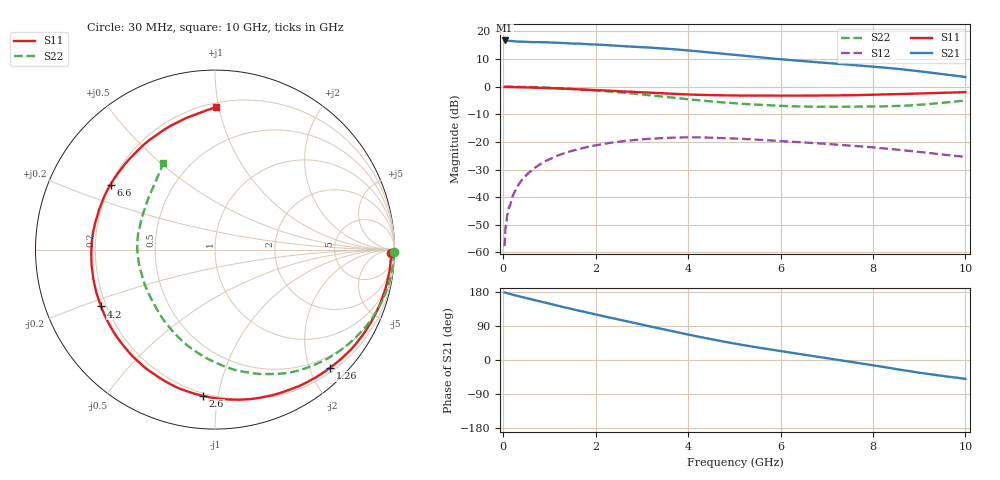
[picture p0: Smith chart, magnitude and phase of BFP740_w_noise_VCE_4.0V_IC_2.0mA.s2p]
! Infineon Technologies  Discrete & RF Semiconductors
! BFP740
! VCE =  4.0 V,  IC =  2.0 mA
! Common Emitter S-Parameters:  Jan 2016
# GHz  S  MA  R  50
!  f  S11  S21  S12  S22
! GHz  MAG  ANG  MAG  ANG  MAG  ANG  MAG  ANG
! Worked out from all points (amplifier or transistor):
!   229 points, 30 MHz to 10 GHz, reference 50 ohm
!   highest |S21| = 16.7 dB at 30 MHz (marker M1)
!   |S21| within 3 dB of that: start of sweep to 3.539 GHz
!   unconditionally stable (mu >= 1): 8.547 GHz to end of sweep
!   at 280 MHz: K = 0.06, MSG = 26.6 dB, |S12| = -37.0 dB
!   at 1.78 GHz: K = 0.17, MSG = 18.7 dB, |S12| = -22.0 dB
!   at 10 GHz: K = 1.31, MAG = 11.1 dB, |S12| = -25.4 dB
!   lowest NFmin = 0.46 dB at 450 MHz
!   S11 on the Smith chart (normalised r, x): 30 MHz: 47, -54; 1.26 GHz: 0.28, -2.33; 2.6 GHz: 0.18, -0.91; 4.2 GHz: 0.18, -0.23; 6.6 GHz: 0.20, +0.28; 10 GHz: 0.23, +0.98
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0.03  0.9819 -1.2  6.814 178.2  0.0013 85.8  0.9982 -0.8
0.04  0.9829 -1.5  6.596 177.8  0.002 81.8  0.9979 -1.0
0.05  0.9832 -1.8  6.716 177.8  0.0029 78.7  0.9964 -1.3
0.12  0.9801 -4.5  6.669 175.0  0.0064 83.3  0.9968 -3.0
0.32  0.9751 -11.7  6.498 168.7  0.0162 81.2  0.9911 -8.1
0.9  0.9462 -32.9  6.356 151.5  0.0444 66.3  0.9593 -22.4
1.26  0.9187 -45.9  6.146 140.8  0.0598 56.8  0.9272 -31.3
1.7  0.8841 -61.9  5.948 128.4  0.0765 46.4  0.8829 -41.6
2.1  0.8562 -76.7  5.722 117.4  0.0899 36.8  0.8382 -51.4
2.6  0.8183 -94.6  5.39 104.1  0.1029 25.6  0.7756 -63.1
3.1  0.7789 -113.2  5.108 90.6  0.1127 14.8  0.7084 -75.1
3.4  0.7566 -124.4  4.913 82.8  0.1171 8.3  0.668 -82.6
3.8  0.7307 -139.2  4.647 72.3  0.1202 -0.1  0.6151 -92.7
4.2  0.7097 -153.5  4.349 62.1  0.1204 -8.0  0.5673 -103.2
4.6  0.6974 -166.6  4.044 52.5  0.1184 -15.4  0.5291 -112.7
5.1  0.6883 178.8  3.683 41.3  0.1138 -23.5  0.4915 -123.9
5.8  0.6826 163.1  3.226 27.3  0.1059 -32.8  0.4559 -138.5
6.6  0.6856 148.1  2.844 12.3  0.0965 -41.3  0.4335 -157.1
6.8  0.6872 144.4  2.751 8.7  0.0942 -43.3  0.4312 -161.8
8.4  0.725 113.3  2.141 -21.9  0.0741 -56.4  0.4418 159.1
9  0.7502 102.5  1.898 -33.6  0.0658 -59.1  0.4685 142.5
10  0.7935 89.6  1.489 -49.7  0.0534 -57.9  0.5599 121.0
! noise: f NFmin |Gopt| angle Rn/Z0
0.45  0.46  0.57  13  0.36
0.9  0.48  0.58  20  0.35
1.5  0.55  0.56  30  0.33
1.9  0.59  0.53  44  0.32
2.4  0.63  0.53  51  0.31
3.5  0.77  0.49  75  0.29
5.5  1.07  0.36  151  0.25
10  1.84  0.61  -89  0.34
